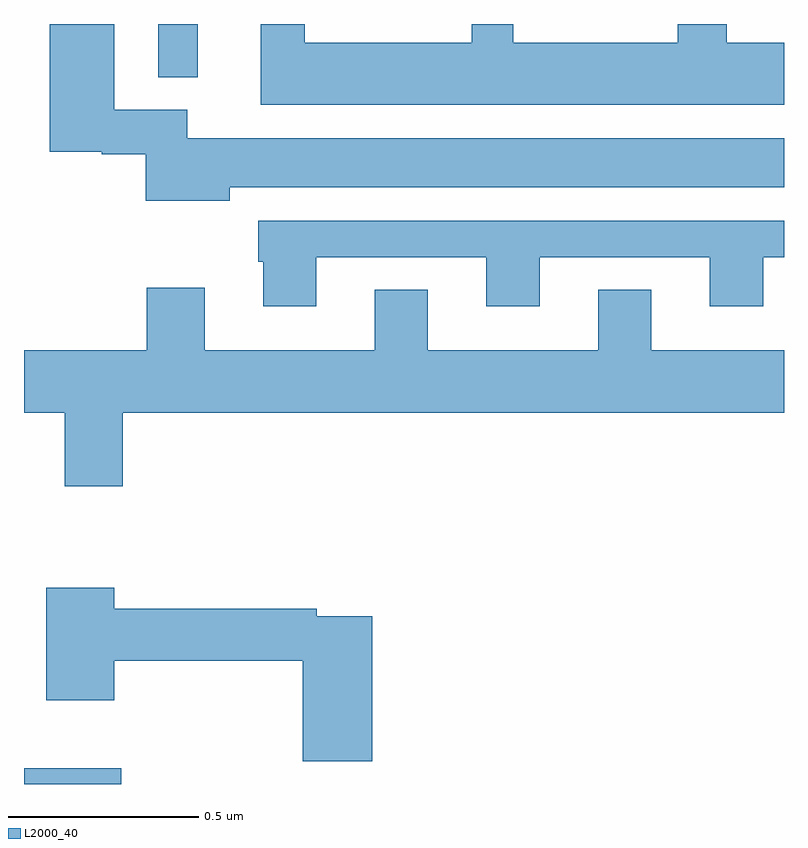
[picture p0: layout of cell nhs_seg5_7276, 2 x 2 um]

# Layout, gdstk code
import gdstk
lib = gdstk.Library(unit=1e-6, precision=1e-09)
def R(c, l, rs):  # rectangles x0, y0, x1, y1
    for r in rs: c.add(gdstk.rectangle(r[:2], r[2:], *l))
def P(c, l, *ps):  # polygons
    for p in ps: c.add(gdstk.Polygon(p, *l))
L2000_40 = (2000, 40)

nhs_seg5_7276 = lib.new_cell('nhs_seg5_7276')
R(nhs_seg5_7276, L2000_40, [(207,839.799,207.256,839.841), (207.353,841.659,207.457,841.799)])
P(nhs_seg5_7276, L2000_40, [(209,841.75),(208.849,841.75),(208.849,841.799),(208.721,841.799),(208.721,841.75),(208.288,841.75),(208.288,841.799),(208.178,841.799),(208.178,841.75),(207.739,841.75),(207.739,841.799),(207.623,841.799),(207.623,841.586),(209,841.586)],
  [(207.541,841.37),(209,841.37),(209,841.498),(207.43,841.498),(207.43,841.573),(207.238,841.573),(207.238,841.799),(207.068,841.799),(207.068,841.463),(207.204,841.463),(207.204,841.456),(207.32,841.456),(207.32,841.334),(207.541,841.334)],
  [(207.769,841.185),(208.217,841.185),(208.217,841.056),(208.357,841.056),(208.357,841.185),(208.805,841.185),(208.805,841.056),(208.945,841.056),(208.945,841.185),(209,841.185),(209,841.281),(207.617,841.281),(207.617,841.173),(207.629,841.173),(207.629,841.056),(207.769,841.056)],
  [(207.26,840.776),(209,840.776),(209,840.94),(208.651,840.94),(208.651,841.1),(208.511,841.1),(208.511,840.94),(208.063,840.94),(208.063,841.1),(207.923,841.1),(207.923,840.94),(207.475,840.94),(207.475,841.105),(207.323,841.105),(207.323,840.94),(207,840.94),(207,840.776),(207.107,840.776),(207.107,840.582),(207.26,840.582)],
  [(207.917,840.24),(207.77,840.24),(207.77,840.26),(207.238,840.26),(207.238,840.316),(207.059,840.316),(207.059,840.02),(207.238,840.02),(207.238,840.124),(207.734,840.124),(207.734,839.859),(207.917,839.859)])

lib.write_gds('nhs_seg5_7276.gds')
